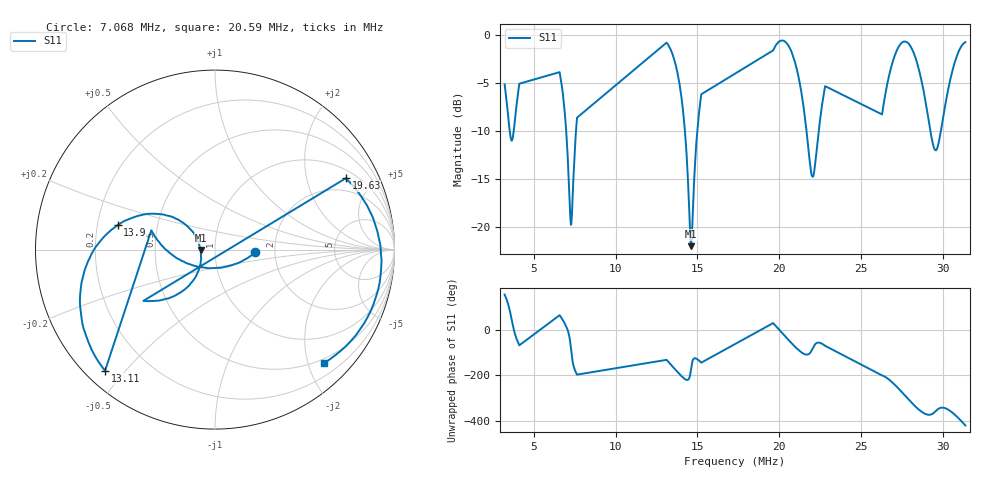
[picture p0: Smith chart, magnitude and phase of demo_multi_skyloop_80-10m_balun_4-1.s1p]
! Boucle horizontale 80 m multibande, balun 4:1, 10 m de RG213
! Fichier de demonstration simule - Analyseur ROS NanoVNA F4CVQ
# HZ S RI R 50
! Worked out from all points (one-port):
!   505 points, 3.2 MHz to 31.4 MHz, reference 50 ohm
!   lowest |S11| = -22.0 dB at 14.6 MHz (marker M1), VSWR 1.17, Z = 42.7 - j0.215 ohm
!   |S11| at or under -10 dB: 14.24 MHz to 14.99 MHz (757 kHz wide, 5.18 % of centre); 21.68 MHz to 22.42 MHz (748.4 kHz wide, 3.39 % of centre); 29.26 MHz to 29.9 MHz (642.5 kHz wide, 2.17 % of centre) (the widest 3 of 5)
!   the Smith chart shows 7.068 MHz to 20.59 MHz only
!   S11 on the Smith chart (normalised r, x): 7.068 MHz: 1.58, -0.05; 13.11 MHz: 0.06, -0.44; 13.9 MHz: 0.29, +0.11; 19.63 MHz: 1.34, +3.44; 20.59 MHz: 0.42, -2.28
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3200000  -0.4941 0.2472
3713000  0.2852 0.0823
4082000  0.2221 -0.4959
4100000  0.2031 -0.5187
6727250  0.365 0.3757
7068050  0.2246 -0.0157
7281050  -0.0127 -0.1032
7632500  -0.3548 0.1074
1.311188e7  -0.6126 -0.6752
1.379228e7  -0.6233 0.0665
1.389859e7  -0.5419 0.1374
1.460025e7  -0.0793 -0.00251
1.51956e7  -0.3624 -0.2866
1.523812e7  -0.3992 -0.2857
1.963312e7  0.7292 0.3977
1.96968e7  0.78 0.3429
1.991966e7  0.9047 0.1016
2.058825e7  0.6058 -0.6325
2.084295e7  0.3246 -0.7097
2.205278e7  0.0245 -0.181
2.27532e7  0.1918 -0.4668
2.63e7  -0.3612 0.1342
2.6963e7  -0.4356 0.5849
2.7881e7  0.4885 0.767
2.8748e7  0.5588 -0.00564
2.9564e7  0.2506 0.00902
3.0431e7  0.5586 0.0588
3.14e7  0.4696 -0.7873
